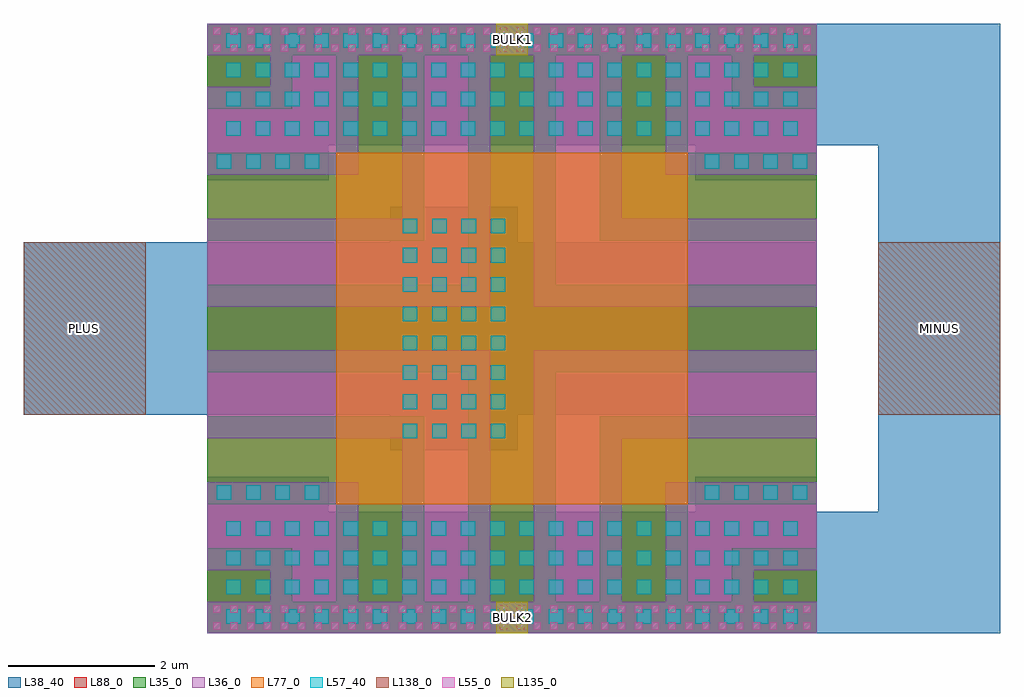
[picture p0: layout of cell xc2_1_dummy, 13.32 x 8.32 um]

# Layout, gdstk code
import gdstk
lib = gdstk.Library(unit=1e-6, precision=1e-09)
def R(c, l, rs):  # rectangles x0, y0, x1, y1
    for r in rs: c.add(gdstk.rectangle(r[:2], r[2:], *l))
def A(c, l, x, y, w, h, nx, ny, dx, dy):  # array of equal rectangles
    R(c, l, [(x+i*dx, y+j*dy, x+i*dx+w, y+j*dy+h) for i in range(nx) for j in range(ny)])
def P(c, l, *ps):  # polygons
    for p in ps: c.add(gdstk.Polygon(p, *l))
L35_0 = (35, 0)
L36_0 = (36, 0)
L38_40 = (38, 40)
L55_0 = (55, 0)
L57_40 = (57, 40)
L77_0 = (77, 0)
L88_0 = (88, 0)
L135_0 = (135, 0)
L138_0 = (138, 0)

xc2_1_dummy = lib.new_cell('xc2_1_dummy')
R(xc2_1_dummy, L35_0, [(-1.76,-1.76,-0.6,-1.2), (-1.76,-1.76,-0.6,-0.6), (-1.76,-1.76,6.56,-1.33), (0,-1.76,1.2,0.6), (1.8,-1.76,3,6.56), (3.6,-1.76,4.8,0.6), (5.4,-1.76,6.56,-1.2), (5.4,-1.76,6.56,-0.6), (-1.76,0,1.2,1.2), (3.6,0,6.56,1.2), (-1.76,1.8,6.56,3), (-1.76,3.6,1.2,4.8), (3.6,3.6,6.56,4.8), (0,4.2,1.2,6.56), (3.6,4.2,4.8,6.56), (-1.76,5.4,-0.6,6.56), (5.4,5.4,6.56,6.56), (-1.76,6,-0.6,6.56), (5.4,6,6.56,6.56), (-1.76,6.13,6.56,6.56)])
R(xc2_1_dummy, L36_0, [(-1.76,-1.76,6.56,-1.33), (-0.9,-1.76,0.3,-0.3), (0.9,-1.76,2.1,1.5), (2.7,-1.76,3.9,1.5), (4.5,-1.76,5.7,-0.3), (-1.76,-0.9,0.3,0.3), (4.5,-0.9,6.56,0.3), (-1.76,0.9,2.1,2.1), (2.7,0.9,6.56,2.1), (-1.76,2.7,2.1,3.9), (2.7,2.7,6.56,3.9), (0.9,3.3,2.1,6.56), (2.7,3.3,3.9,6.56), (-1.76,4.5,0.3,5.7), (4.5,4.5,6.56,5.7), (-0.9,5.1,0.3,6.56), (4.5,5.1,5.7,6.56), (-1.76,6.13,6.56,6.56)])
R(xc2_1_dummy, L38_40, [(6.56,-1.76,9.06,-0.1), (7.4,-1.76,9.06,6.56), (0.74,0.74,2.48,1.22), (-4.26,1.22,6.56,3.58), (0.74,3.58,2.48,4.06), (0.74,3.58,2.48,4.06), (6.56,4.9,9.06,6.56)])
P(xc2_1_dummy, L38_40, [(-0.1,4.9),(4.9,4.9),(4.9,4.42),(6.56,4.42),(6.56,6.56),(-1.76,6.56),(-1.76,4.42),(-0.1,4.42)],
  [(-1.76,0.38),(-1.76,-1.76),(6.56,-1.76),(6.56,0.38),(4.9,0.38),(4.9,-0.1),(-0.1,-0.1),(-0.1,0.38)])
A(xc2_1_dummy, L55_0, -1.675, -1.71, 0.1, 0.1, 36, 2, 0.23, 0.23)
A(xc2_1_dummy, L55_0, -1.675, 6.18, 0.1, 0.1, 36, 2, 0.23, 0.23)
A(xc2_1_dummy, L57_40, -1.5, -1.63, 0.2, 0.2, 20, 4, 0.4, 0.4)
A(xc2_1_dummy, L57_40, -1.63, 0.06, 0.2, 0.2, 4, 2, 0.4, 4.52)
A(xc2_1_dummy, L57_40, 5.03, 0.06, 0.2, 0.2, 4, 2, 0.4, 4.52)
A(xc2_1_dummy, L57_40, 0.91, 0.9, 0.2, 0.2, 4, 8, 0.4, 0.4)
A(xc2_1_dummy, L57_40, -1.5, 5.03, 0.2, 0.2, 20, 4, 0.4, 0.4)
R(xc2_1_dummy, L77_0, [(0,0,4.8,4.8)])
R(xc2_1_dummy, L88_0, [(-1.76,-1.76,6.56,6.56)])
R(xc2_1_dummy, L135_0, [(2.185,-1.76,2.615,-1.33), (2.185,6.13,2.615,6.56)])
R(xc2_1_dummy, L138_0, [(-4.26,1.22,-2.6,3.58), (7.4,1.22,9.06,3.58)])
xc2_1_dummy.add(gdstk.Label('BULK1', (2.4,6.345), layer=135, texttype=0))
xc2_1_dummy.add(gdstk.Label('BULK2', (2.4,-1.545), layer=135, texttype=0))
xc2_1_dummy.add(gdstk.Label('PLUS', (-3.43,2.4), layer=138, texttype=0))
xc2_1_dummy.add(gdstk.Label('MINUS', (8.23,2.4), layer=138, texttype=0))

lib.write_gds('xc2_1_dummy.gds')
